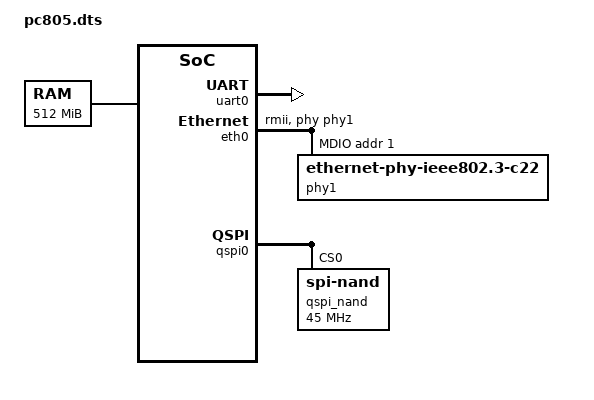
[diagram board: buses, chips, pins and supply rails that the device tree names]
/dts-v1/;

/ {
	#address-cells = <1>;
	#size-cells = <1>;

	aliases {
		uart0 = &uart0;
		spi0 = &qspi0;
		ethernet0 = &eth0;
	};

	chosen {
        bootargs = "console=ttyS0,115200 earlycon=sbi loglevel=8";
        stdout-path = "serial0:115200n8";
	};

	sys_clk: sys_clk {
		#clock-cells = <0>;
		compatible = "fixed-clock";
		clock-frequency = <650000000>;
		u-boot,dm-spl;
	};

	per_clk: per_clk {
		#clock-cells = <0>;
		compatible = "fixed-clock";
		clock-frequency = <325000000>;
		u-boot,dm-spl;
	};

	eth_clk: eth_clk {
		#clock-cells = <0>;
		compatible = "fixed-clock";
		clock-frequency = <99840000>;
	};

	cpus {
		#address-cells = <1>;
		#size-cells = <0>;
		timebase-frequency = <30720000>;

		cpu0: cpu@0 {
			device_type = "cpu";
			compatible = "riscv";
			clock-frequency = <998400000>;
			riscv,priv-major = <0x1>;
			riscv,priv-minor = <0xa>;
			i-cache-size = <0x8000>;
			i-cache-line-size = <0x20>;
			i-cache-sets = <0x100>;
			d-cache-size = <0x8000>;
			d-cache-line-size = <0x20>;
			d-cache-sets = <0x100>;
			mmu-type = "riscv,sv32";
			reg = <0>;
			riscv,isa = "rv32imafdc";
			status = "okay";
			u-boot,dm-spl;
			cpu0_intc: interrupt-controller {
				#interrupt-cells = <1>;
				compatible = "riscv,cpu-intc";
				interrupt-controller;
				u-boot,dm-spl;
			};
		};
	};

	memory@80000000 {
		/* DDR 512M */
		device_type = "memory";
		reg = <0x80000000 0x20000000>;
	};


	plic0: interrupt-controller@C800000 {
		#interrupt-cells = <1>;
		compatible = "riscv,plic0";
		interrupt-controller;
		riscv,ndev = <146>;
		interrupts-extended =
			<&cpu0_intc 11 &cpu0_intc 9>;
		reg = <0xC800000 0x400000>;
		u-boot,dm-spl;
	};

	plmt0@C400000 {
		compatible = "riscv,plmt0";
		reg = <0xC400000 0x100000>;
		interrupts-extended = <&cpu0_intc 0x7>;
		u-boot,dm-spl;
	};

	uart0: uart@8212000 {
		compatible = "snps,dw-apb-uart";
		reg = <0x8212000 0x100>;
		/*clock-frequency = <325000000>;*/
		clocks = <&per_clk>;
		clock-names = "baudclk";
		interrupts = <70>;
        reg-offset = <0>;
		reg-shift = <2>;
		reg-io-width = <4>;
		interrupt-parent = <&plic0>;
		status = "okay";
		u-boot,dm-spl;
	};

	dmac@10C00000 {
		compatible = "snps,axi-dma-1.01a";
		reg = <0x10C00000 0x10000>;
		interrupt-parent = <&plic0>;
		interrupts = <73>;
		clocks = <&sys_clk>, <&per_clk>;
		clock-names = "core-clk", "cfgr-clk";

		dma-channels = <8>;
		snps,dma-masters = <1>;
		snps,data-width = <4>;
		snps,block-size = <131072 131072 131072 131072 131072 131072 131072 131072>;
		snps,priority = <0 1 2 3 4 5 6 7>;
		snps,axi-max-burst-len = <4>;
		u-boot,dm-spl;
	};

	eth0: ethernet@8480000 {
		compatible = "snps,dwc-qos-ethernet-4.10";
		clock-names = "phy_ref_clk", "apb_pclk";
		clocks = <&eth_clk>, <&eth_clk>;
		interrupt-parent = <&plic0>;
		interrupts = <6>;
		reg = <0x08480000 0x2000>;
		phy-handle = <&phy1>;
		phy-mode = "rmii";
		local-mac-address = [82 40 d7 3a 01 53];
		snps,write-requests = <4>;
		snps,read-requests = <4>;
		snps,burst-map = <0x6>;
		snps,txpbl = <1>;
		snps,rxpbl = <1>;

		mdio {
			#address-cells = <0x1>;
			#size-cells = <0x0>;
			phy1: phy@1 {
				compatible = "ethernet-phy-ieee802.3-c22";
				device_type = "ethernet-phy";
				reg = <0x1>;
			};
		};
    };

	qspi0: qspi@0820C000 {
		compatible = "snps,dw-apb-ssi";
		reg = <0x0820C000 0x1000>;
		#address-cells = <1>;
		#size-cells = <0>;
		spi-max-frequency = <45000000>;
		clocks = <&per_clk>;
		clock-names = "spi_clk";
		spi-tx-bus-width = <4>;
		spi-rx-bus-width = <4>;
		u-boot,dm-spl;
		qspi_nand@0 {
			compatible = "spi-nand";
			reg = <0>;
			spi-max-frequency = <45000000>;
			u-boot,dm-spl;
		};
	};
};
